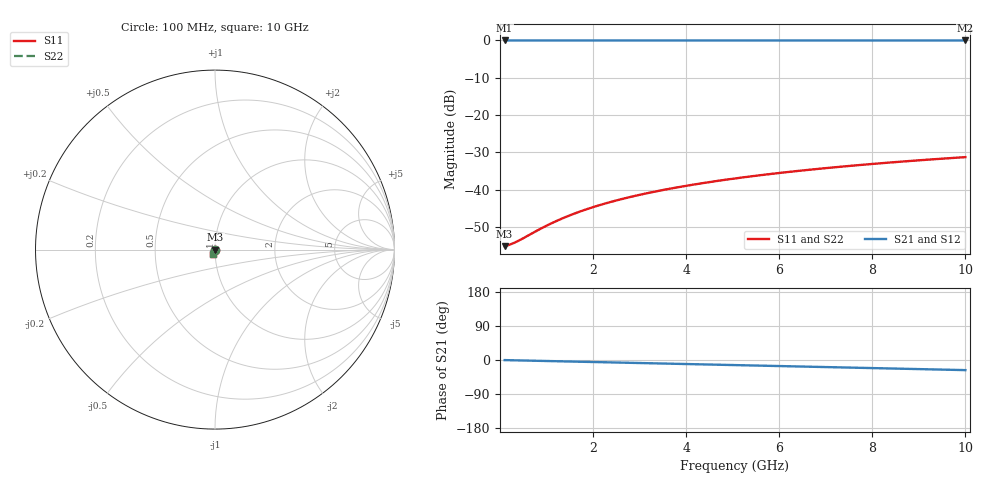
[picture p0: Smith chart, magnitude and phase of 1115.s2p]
# Hz S RI R 50.00
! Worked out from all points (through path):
!   100 points, 100 MHz to 10 GHz, reference 50 ohm
!   highest |S21| = -0.01 dB at 100 MHz (marker M1); lowest = 0.0 dB at 10 GHz (marker M2)
!   group delay of S21, straight-line fit = 7.42 ps
!   lowest |S11| = -55.2 dB at 100 MHz (marker M3), VSWR 1.00, Z = 50.2 - j0.0285 ohm
!   |S11| at or under -10 dB: start of sweep to end of sweep
!   |S22| runs from -55.2 to -31.3 dB; largest |S21 - S12| = 0
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1e8  0.00172 -0.000284  0.9983 -0.00462  0.9983 -0.00462  0.00172 -0.000284
2e8  0.00172 -0.000568  0.9982 -0.00925  0.9982 -0.00925  0.00172 -0.000568
3e8  0.00172 -0.000852  0.9982 -0.0139  0.9982 -0.0139  0.00172 -0.000852
4e8  0.00172 -0.00114  0.9981 -0.0185  0.9981 -0.0185  0.00172 -0.00114
9e8  0.00165 -0.00256  0.9973 -0.0416  0.9973 -0.0416  0.00165 -0.00256
1.2e9  0.00157 -0.00341  0.9966 -0.0555  0.9966 -0.0555  0.00157 -0.00341
1.5e9  0.00146 -0.00426  0.9958 -0.0693  0.9958 -0.0693  0.00146 -0.00426
1.8e9  0.00134 -0.00511  0.9947 -0.0832  0.9947 -0.0832  0.00134 -0.00511
2.1e9  0.00119 -0.00595  0.9934 -0.097  0.9934 -0.097  0.00119 -0.00595
2.5e9  0.000947 -0.00708  0.9914 -0.1154  0.9914 -0.1154  0.000947 -0.00708
2.9e9  0.000666 -0.00819  0.9891 -0.1338  0.9891 -0.1338  0.000666 -0.00819
3.4e9  0.000256 -0.00957  0.9856 -0.1567  0.9856 -0.1567  0.000256 -0.00957
3.8e9  -0.000119 -0.0107  0.9825 -0.175  0.9825 -0.175  -0.000119 -0.0107
4.2e9  -0.000534 -0.0117  0.9791 -0.1933  0.9791 -0.1933  -0.000534 -0.0117
4.6e9  -0.000989 -0.0128  0.9753 -0.2114  0.9753 -0.2114  -0.000989 -0.0128
5.1e9  -0.00161 -0.0141  0.9701 -0.2341  0.9701 -0.2341  -0.00161 -0.0141
5.9e9  -0.00274 -0.0162  0.9606 -0.2701  0.9606 -0.2701  -0.00274 -0.0162
6.7e9  -0.00402 -0.0181  0.9498 -0.3057  0.9498 -0.3057  -0.00402 -0.0181
7.5e9  -0.00543 -0.02  0.9376 -0.341  0.9376 -0.341  -0.00543 -0.02
8.4e9  -0.00719 -0.0219  0.9223 -0.3801  0.9223 -0.3801  -0.00719 -0.0219
9.2e9  -0.00888 -0.0235  0.9073 -0.4144  0.9073 -0.4144  -0.00888 -0.0235
1e10  -0.0107 -0.025  0.8911 -0.4481  0.8911 -0.4481  -0.0107 -0.025
